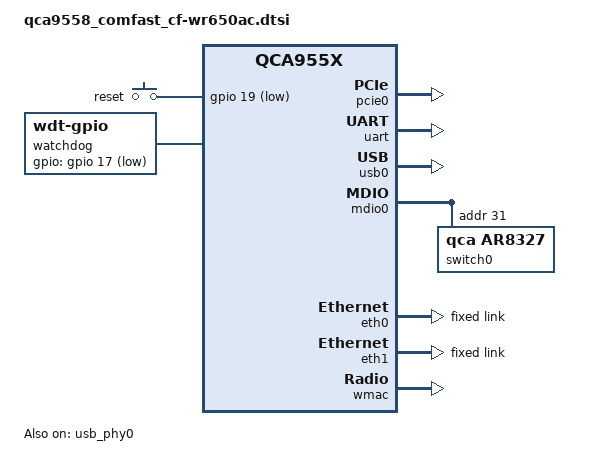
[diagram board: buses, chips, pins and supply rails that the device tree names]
// SPDX-License-Identifier: GPL-2.0-or-later OR MIT

#include "qca955x.dtsi"

#include <dt-bindings/gpio/gpio.h>
#include <dt-bindings/input/input.h>

/ {
	keys {
		compatible = "gpio-keys";

		reset {
			label = "reset";
			linux,code = <KEY_RESTART>;
			gpios = <&gpio 19 GPIO_ACTIVE_LOW>;
			debounce-interval = <60>;
		};
	};

	watchdog {
		compatible = "linux,wdt-gpio";
		gpios = <&gpio 17 GPIO_ACTIVE_LOW>;
		hw_algo = "toggle";
		hw_margin_ms = <500>;
		always-running;
	};
};

&pcie0 {
	status = "okay";
};

&uart {
	status = "okay";
};

&usb_phy0 {
	status = "okay";
};

&usb0 {
	status = "okay";
};

&mdio0 {
	status = "okay";

	switch0@1f {
		compatible = "qca,ar8327";
		reg = <0x1f>;
		qca,ar8327-initvals = <
			0x04 0x87600000 /* PORT0 PAD MODE CTRL */
			0x0c 0x00080080 /* PORT6 PAD MODE CTRL */
			0x10 0x81000080 /* POWER_ON_STRAP */
			0x7c 0x0000007e /* PORT0_STATUS */
			0x94 0x0000007e /* PORT6 STATUS */
			>;
	};
};

&eth0 {
	status = "okay";

	pll-data = <0xa6000000 0x00000101 0x00001616>;
	mtd-mac-address = <&art 0x0>;
	fixed-link {
		speed = <1000>;
		full-duplex;
	};
};

&eth1 {
	status = "okay";

	pll-data = <0x03000101 0x00000101 0x00001616>;
	mtd-mac-address = <&art 0x6>;
	fixed-link {
		speed = <1000>;
		full-duplex;
	};
};

&wmac {
	status = "okay";

	mtd-cal-data = <&art 0x1000>;
	mtd-mac-address = <&art 0x18>;
};

// This node is required for the Ethernet ports to work correctly.
&gpio {
	status = "okay";
};
